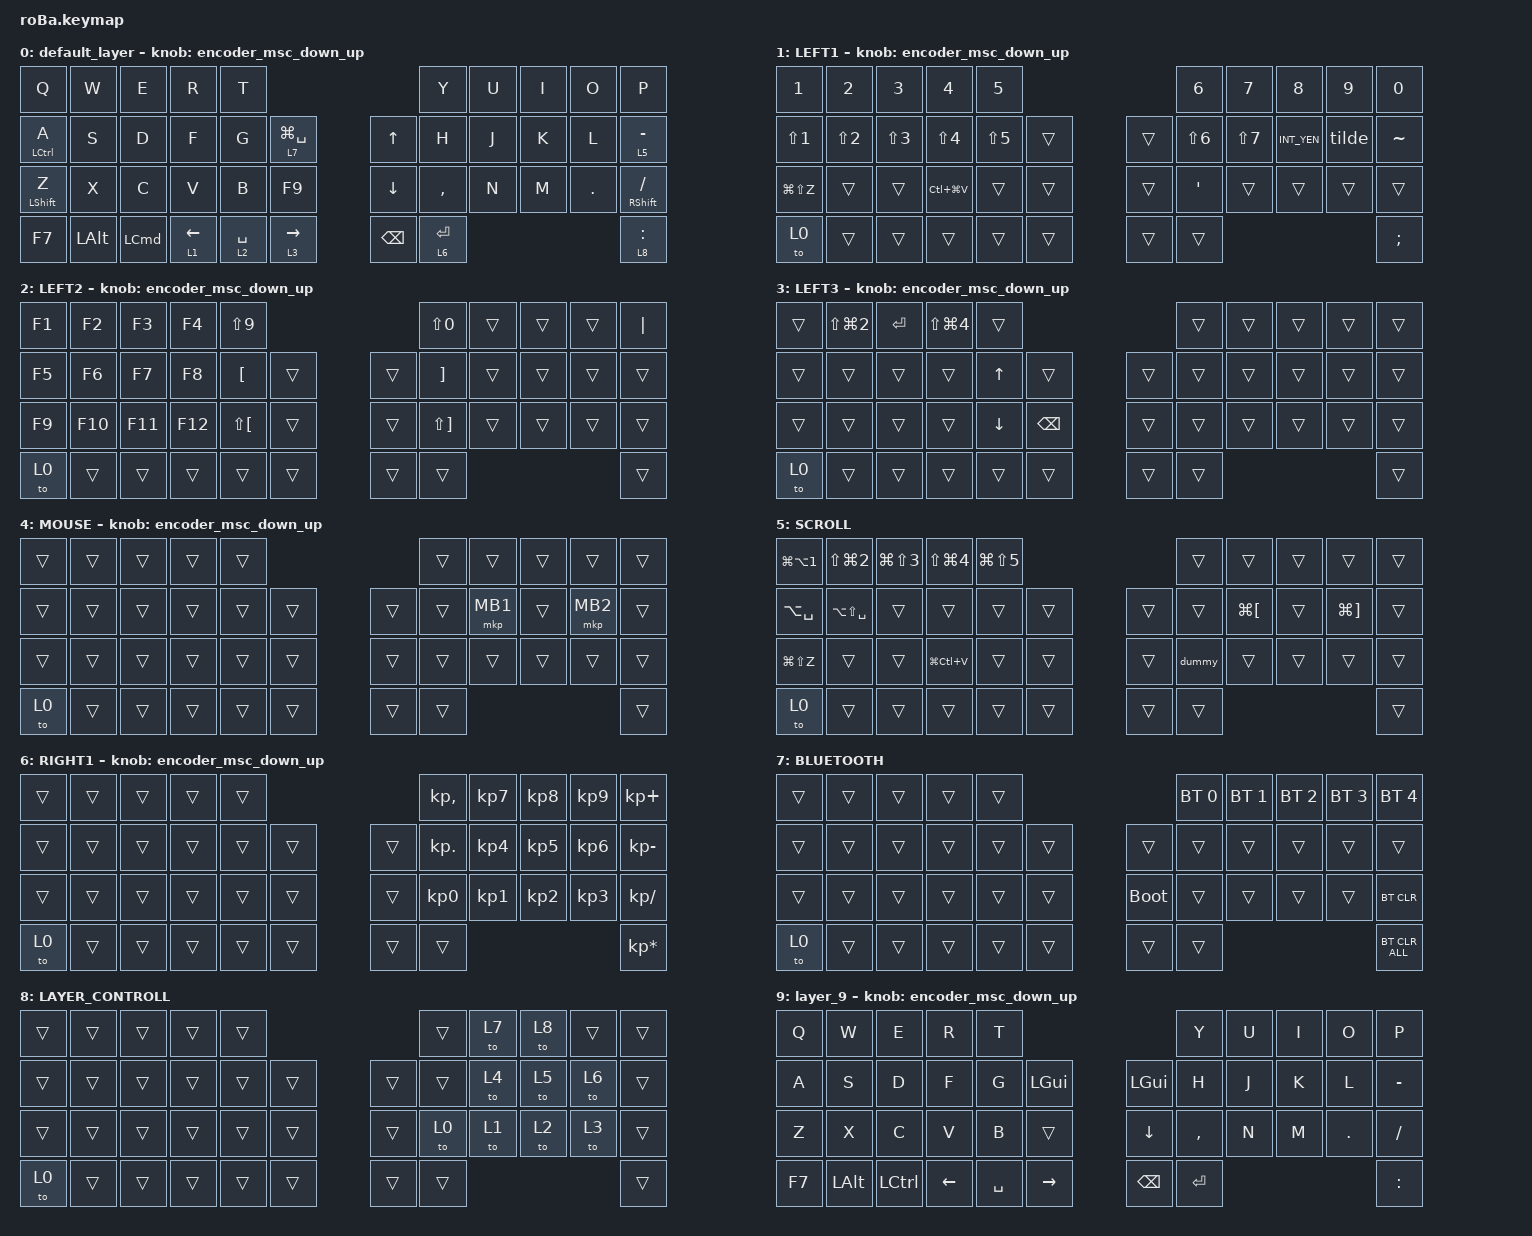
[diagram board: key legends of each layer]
#include <behaviors.dtsi>
#include <dt-bindings/zmk/bt.h>
#include <dt-bindings/zmk/keys.h>
#include <dt-bindings/zmk/pointing.h>

#define ZMK_POINTING_DEFAULT_SCRL_VAL 200

&mt {
    flavor = "tap-preferred";
    quick-tap-ms = <0>;
    tapping-term-ms = <200>;
};

&trackball {
    automouse-layer = <4>;
    scroll-layers = <5>;

    // arrows {
    //     layers = <3>;
    //     bindings =
    //         <&kp RIGHT_ARROW>,
    //         <&kp LEFT_ARROW>,
    //         <&kp UP_ARROW>,
    //         <&kp DOWN_ARROW>;
    //     tick = <10>;
    //     wait-ms = <5>;
    //     tap-ms = <5>;
    // };
};

/ {
    combos {
        compatible = "zmk,combos";

        tab {
            bindings = <&kp TAB>;
            key-positions = <11 12>;
        };

        double_quotation {
            bindings = <&kp DOUBLE_QUOTES>;
            key-positions = <20 21>;
        };

        Escape {
            bindings = <&kp ESCAPE>;
            key-positions = <1 0>;
        };

        half {
            bindings = <&kp LANG2>;
            key-positions = <13 12>;
        };

        kana {
            bindings = <&kp LANG1>;
            key-positions = <18 19>;
        };

        f7 {
            bindings = <&kp F7>;
            key-positions = <22 23>;
        };

        eauqls {
            bindings = <&kp EQUAL>;
            key-positions = <33 32>;
        };

        scroll {
            bindings = <&mo 5>;
            key-positions = <19 20>;
        };

        at_sign {
            bindings = <&kp AT_SIGN>;
            key-positions = <31 32>;
        };
    };

    macros {
        to_layer_0: to_layer_0 {
            compatible = "zmk,behavior-macro-one-param";
            #binding-cells = <1>;
            bindings = <&to 0 &macro_param_1to1 &kp MACRO_PLACEHOLDER>;
            label = "TO_LAYER_0";
        };

        dummy: dummy {
            compatible = "zmk,behavior-macro";
            #binding-cells = <0>;
            bindings = <&kp D &kp A &kp M &kp I &kp MINUS &kp SPACE>;
            label = "DUMMY";
        };

        tilde: tilde {
            compatible = "zmk,behavior-macro";
            #binding-cells = <0>;
            bindings = <&kp T &kp I &kp R &kp U &kp D &kp A &kp SPACE>;
            label = "TILDE";
        };
    };

    behaviors {
        lt_to_layer_0: lt_to_layer_0 {
            compatible = "zmk,behavior-hold-tap";
            label = "LAYER_TAP_TO_0";
            bindings = <&mo>, <&to_layer_0>;

            #binding-cells = <2>;
            tapping-term-ms = <150>;
            flavor = "tap-preferred";
        };

        encoder_msc_down_up: encoder_msc_down_up {
            compatible = "zmk,behavior-sensor-rotate";
            label = "ENCODER_MSC_DOWN_UP";
            #sensor-binding-cells = <0>;
            bindings = <&msc SCRL_DOWN>, <&msc SCRL_UP>;

            tap-ms = <20>;
        };

        new_behavior: new_behavior {
            compatible = "zmk,behavior-hold-tap";
            label = "NEW_BEHAVIOR";
            bindings = <&mo>, <&to_layer_0>;

            #binding-cells = <2>;
            tapping-term-ms = <100>;
            flavor = "tap-preferred";
            hold-trigger-key-positions = <1>;
        };
    };

    keymap {
        compatible = "zmk,keymap";

        default_layer {
            bindings = <
&kp Q             &kp W         &kp E             &kp R                        &kp T                                                          &kp Y        &kp U  &kp I  &kp O    &kp P
&mt LCTRL A       &kp S         &kp D             &kp F                        &kp G        &lt_to_layer_0 7 LG(SPACE)        &kp UP_ARROW    &kp H        &kp J  &kp K  &kp L    &lt_to_layer_0 5 MINUS
&mt LEFT_SHIFT Z  &kp X         &kp C             &kp V                        &kp B        &kp F9                            &kp DOWN_ARROW  &kp COMMA    &kp N  &kp M  &kp DOT  &mt RIGHT_SHIFT SLASH
&kp F7            &kp LEFT_ALT  &kp LEFT_COMMAND  &lt_to_layer_0 1 LEFT_ARROW  &lt 2 SPACE  &lt_to_layer_0 3 RIGHT_ARROW      &kp BACKSPACE   &lt 6 ENTER                         &lt_to_layer_0 8 COLON
            >;

            sensor-bindings = <&encoder_msc_down_up>;
        };

        LEFT1 {
            bindings = <
&kp NUMBER_1      &kp NUMBER_2      &kp NUMBER_3      &kp NUMBER_4      &kp NUMBER_5                          &kp NUMBER_6      &kp NUMBER_7      &kp NUMBER_8  &kp NUMBER_9  &kp NUMBER_0
&kp LS(NUMBER_1)  &kp LS(NUMBER_2)  &kp LS(NUMBER_3)  &kp LS(NUMBER_4)  &kp LS(NUMBER_5)  &trans      &trans  &kp LS(NUMBER_6)  &kp LS(NUMBER_7)  &kp INT_YEN   &tilde        &kp TILDE
&kp LG(LS(Z))     &trans            &trans            &kp LC(LG(V))     &trans            &trans      &trans  &kp APOS          &trans            &trans        &trans        &trans
&to 0             &trans            &trans            &trans            &trans            &trans      &trans  &trans                                                          &kp SEMI
            >;

            sensor-bindings = <&encoder_msc_down_up>;
        };

        LEFT2 {
            bindings = <
&kp F1  &kp F2   &kp F3   &kp F4   &kp LS(NUMBER_9)                          &kp LS(NUMBER_0)       &trans  &trans  &trans  &kp PIPE
&kp F5  &kp F6   &kp F7   &kp F8   &kp LEFT_BRACKET      &trans      &trans  &kp RIGHT_BRACKET      &trans  &trans  &trans  &trans
&kp F9  &kp F10  &kp F11  &kp F12  &kp LS(LEFT_BRACKET)  &trans      &trans  &kp LS(RIGHT_BRACKET)  &trans  &trans  &trans  &trans
&to 0   &trans   &trans   &trans   &trans                &trans      &trans  &trans                                         &trans
            >;

            sensor-bindings = <&encoder_msc_down_up>;
        };

        LEFT3 {
            bindings = <
&trans  &kp LS(LG(NUMBER_2))  &kp ENTER  &kp LS(LG(NUMBER_4))  &trans                                   &trans  &trans  &trans  &trans  &trans
&trans  &trans                &trans     &trans                &kp UP_ARROW  &trans             &trans  &trans  &trans  &trans  &trans  &trans
&trans  &trans                &trans     &trans                &kp DOWN      &kp BACKSPACE      &trans  &trans  &trans  &trans  &trans  &trans
&to 0   &trans                &trans     &trans                &trans        &trans             &trans  &trans                          &trans
            >;

            sensor-bindings = <&encoder_msc_down_up>;
        };

        MOUSE {
            bindings = <
&trans  &trans  &trans  &trans  &trans                      &trans  &trans    &trans  &trans    &trans
&trans  &trans  &trans  &trans  &trans  &trans      &trans  &trans  &mkp MB1  &trans  &mkp MB2  &trans
&trans  &trans  &trans  &trans  &trans  &trans      &trans  &trans  &trans    &trans  &trans    &trans
&to 0   &trans  &trans  &trans  &trans  &trans      &trans  &trans                              &trans
            >;

            sensor-bindings = <&encoder_msc_down_up>;
        };

        SCROLL {
            bindings = <
&kp LG(LA(NUMBER_1))  &kp LS(LG(NUMBER_2))  &kp LG(LS(NUMBER_3))  &kp LS(LG(NUMBER_4))  &kp LG(LS(NUMBER_5))                      &trans  &trans                &trans  &trans                 &trans
&kp LA(SPACE)         &kp LA(LS(SPACE))     &trans                &trans                &trans                &trans      &trans  &trans  &kp LG(LEFT_BRACKET)  &trans  &kp LG(RIGHT_BRACKET)  &trans
&kp LG(LS(Z))         &trans                &trans                &kp LG(LC(V))         &trans                &trans      &trans  &dummy  &trans                &trans  &trans                 &trans
&to 0                 &trans                &trans                &trans                &trans                &trans      &trans  &trans                                                       &trans
            >;
        };

        RIGHT1 {
            bindings = <
&trans  &trans  &trans  &trans  &trans                      &kp KP_COMMA  &kp KP_NUMBER_7  &kp KP_N8  &kp KP_N9        &kp KP_PLUS
&trans  &trans  &trans  &trans  &trans  &trans      &trans  &kp KP_DOT    &kp KP_N4        &kp KP_N5  &kp KP_NUMBER_6  &kp KP_MINUS
&trans  &trans  &trans  &trans  &trans  &trans      &trans  &kp KP_N0     &kp KP_N1        &kp KP_N2  &kp KP_N3        &kp KP_DIVIDE
&to 0   &trans  &trans  &trans  &trans  &trans      &trans  &trans                                                     &kp KP_MULTIPLY
            >;

            sensor-bindings = <&encoder_msc_down_up>;
        };

        BLUETOOTH {
            bindings = <
&trans  &trans  &trans  &trans  &trans                           &bt BT_SEL 0  &bt BT_SEL 1  &bt BT_SEL 2  &bt BT_SEL 3  &bt BT_SEL 4
&trans  &trans  &trans  &trans  &trans  &trans      &trans       &trans        &trans        &trans        &trans        &trans
&trans  &trans  &trans  &trans  &trans  &trans      &bootloader  &trans        &trans        &trans        &trans        &bt BT_CLR
&to 0   &trans  &trans  &trans  &trans  &trans      &trans       &trans                                                  &bt BT_CLR_ALL
            >;
        };

        LAYER_CONTROLL {
            bindings = <
&trans  &trans  &trans  &trans  &trans                      &trans  &to 7  &to 8  &trans  &trans
&trans  &trans  &trans  &trans  &trans  &trans      &trans  &trans  &to 4  &to 5  &to 6   &trans
&trans  &trans  &trans  &trans  &trans  &trans      &trans  &to 0   &to 1  &to 2  &to 3   &trans
&to 0   &trans  &trans  &trans  &trans  &trans      &trans  &trans                        &trans
            >;
        };

        layer_9 {
            bindings = <
&kp Q   &kp W     &kp E      &kp R     &kp T                               &kp Y      &kp U  &kp I  &kp O    &kp P
&kp A   &kp S     &kp D      &kp F     &kp G      &kp LGUI       &kp LGUI  &kp H      &kp J  &kp K  &kp L    &kp MINUS
&kp Z   &kp X     &kp C      &kp V     &kp B      &trans         &kp DOWN  &kp COMMA  &kp N  &kp M  &kp DOT  &kp FSLH
&kp F7  &kp LALT  &kp LCTRL  &kp LEFT  &kp SPACE  &kp RIGHT      &kp BSPC  &kp RET                           &kp COLON
            >;

            sensor-bindings = <&encoder_msc_down_up>;
        };
    };
};
